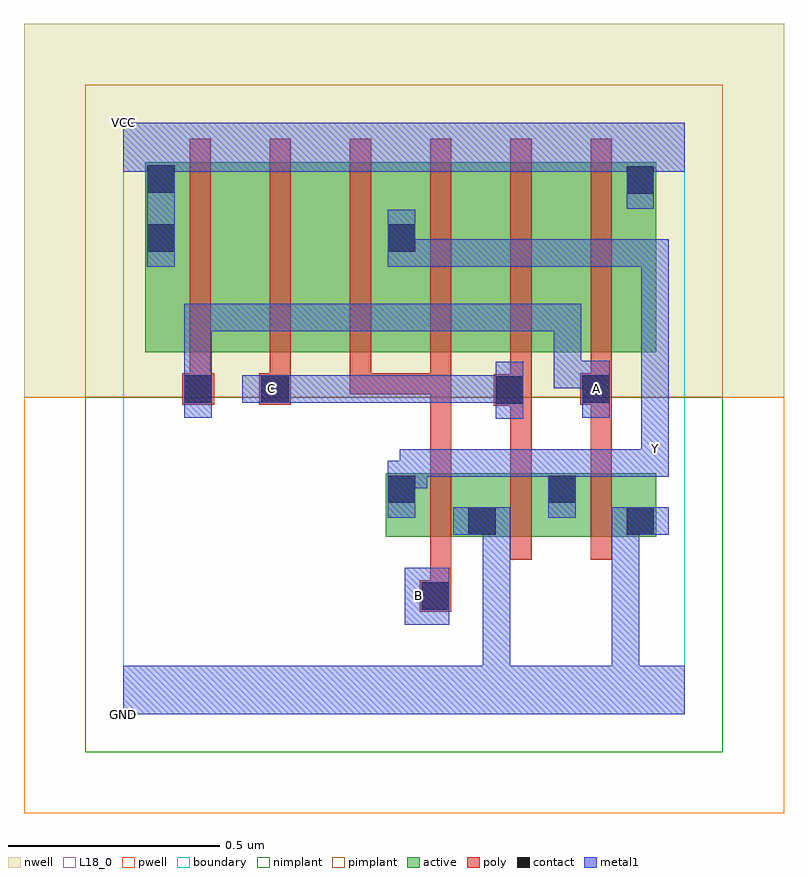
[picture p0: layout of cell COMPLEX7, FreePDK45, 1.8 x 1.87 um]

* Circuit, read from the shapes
.subckt COMPLEX7 A B C GND VCC Y
M1 GND B Y VSUBS nfet w=0.15u l=0.05u
M2 Y C GND VSUBS nfet w=0.15u l=0.05u
M3 GND A Y VSUBS nfet w=0.15u l=0.05u
M4 n1 A VCC n2 pfet w=0.45u l=0.05u
M5 n3 C n1 n2 pfet w=0.45u l=0.05u
M6 Y B n3 n2 pfet w=0.45u l=0.05u
M7 n4 B Y n2 pfet w=0.45u l=0.05u
M8 n5 C n4 n2 pfet w=0.45u l=0.05u
M9 VCC A n5 n2 pfet w=0.45u l=0.05u
.ends

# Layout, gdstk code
import gdstk
lib = gdstk.Library(unit=1e-6, precision=1e-09)
def R(c, l, rs):  # rectangles x0, y0, x1, y1
    for r in rs: c.add(gdstk.rectangle(r[:2], r[2:], *l))
def A(c, l, x, y, w, h, nx, ny, dx, dy):  # array of equal rectangles
    R(c, l, [(x+i*dx, y+j*dy, x+i*dx+w, y+j*dy+h) for i in range(nx) for j in range(ny)])
active = (1, 0)
pwell = (2, 0)
nwell = (3, 0)
nimplant = (4, 0)
pimplant = (5, 0)
poly = (9, 0)
contact = (10, 0)
metal1 = (11, 0)
L18_0 = (18, 0)
boundary = (235, 0)

complex7 = lib.new_cell('COMPLEX7')
R(complex7, active, [(0.622,0.42,0.697,0.57), (0.622,0.42,0.887,0.57), (0.812,0.42,1.077,0.57), (0.812,0.42,0.887,0.51), (1.002,0.42,1.077,0.57), (1.002,0.42,1.262,0.57), (1.187,0.42,1.262,0.57), (0.052,0.857,0.127,1.307), (0.052,0.857,0.277,1.307), (0.277,0.857,0.467,1.307), (0.467,0.857,0.697,1.307), (0.622,0.857,0.847,1.307), (0.622,0.857,0.697,1.2), (0.847,0.857,1.037,1.307), (1.037,0.857,1.262,1.307), (1.187,0.857,1.262,1.307)])
R(complex7, pwell, [(-0.235,-0.235,1.565,0.75)])
R(complex7, nwell, [(-0.235,0.75,1.565,1.635)])
R(complex7, nimplant, [(-0.09,-0.09,1.42,0.75)])
R(complex7, pimplant, [(-0.09,0.75,1.42,1.49)])
A(complex7, poly, 0.727, 0.365, 0.05, 0.26, 3, 1, 0.19, 0)
A(complex7, poly, 0.157, 0.757, 0.05, 0.095, 4, 1, 0.19, 0)
A(complex7, poly, 0.157, 0.802, 0.05, 0.56, 6, 1, 0.19, 0)
R(complex7, poly, [(0.702,0.242,0.777,0.317), (0.727,0.267,0.777,0.415), (0.727,0.575,0.777,0.807), (0.917,0.575,0.967,0.78), (1.107,0.575,1.157,0.782), (0.877,0.73,0.967,0.805), (0.14,0.732,0.215,0.807), (0.322,0.732,0.397,0.807), (1.082,0.732,1.157,0.807), (0.917,0.755,0.967,0.852), (0.537,0.757,0.587,0.807), (0.537,0.757,0.777,0.807), (0.727,0.757,0.777,0.807), (0.727,0.757,0.777,0.807), (0.727,0.757,0.777,0.807), (1.107,0.757,1.157,0.852)])
R(complex7, contact, [(0.707,0.247,0.772,0.312), (0.817,0.425,0.882,0.49), (1.192,0.425,1.257,0.49), (0.627,0.5,0.692,0.565), (1.007,0.5,1.072,0.565), (0.882,0.735,0.947,0.8), (0.145,0.737,0.21,0.802), (0.327,0.737,0.392,0.802), (1.087,0.737,1.152,0.802), (0.057,1.095,0.122,1.16), (0.627,1.095,0.692,1.16), (1.192,1.232,1.257,1.297), (0.057,1.235,0.122,1.3)])
R(complex7, metal1, [(0,0,1.33,0.115), (0.852,0.05,0.917,0.115), (0.852,0.05,0.917,0.115), (0.852,0.05,0.917,0.115), (0.852,0.05,0.917,0.115), (0.852,0.05,0.917,0.115), (0.852,0.05,0.917,0.115), (0.852,0.05,0.917,0.49), (1.157,0.05,1.222,0.115), (1.157,0.05,1.222,0.115), (1.157,0.05,1.222,0.49), (0.667,0.212,0.772,0.347), (0.782,0.425,0.917,0.49), (1.157,0.425,1.222,0.49), (1.157,0.425,1.222,0.49), (1.157,0.425,1.222,0.49), (1.157,0.425,1.222,0.49), (1.157,0.425,1.292,0.49), (0.627,0.465,0.692,0.6), (1.007,0.465,1.072,0.627), (0.627,0.535,0.72,0.6), (0.655,0.535,0.72,0.627), (0.655,0.562,0.935,0.627), (0.87,0.562,0.935,0.627), (0.87,0.562,0.935,0.627), (0.87,0.562,0.935,0.627), (0.87,0.562,1.072,0.627), (1.007,0.562,1.292,0.627), (1.227,0.562,1.292,0.697), (1.227,0.562,1.292,0.627), (1.227,0.562,1.292,0.627), (1.227,0.562,1.292,0.627), (1.227,0.562,1.292,0.627), (1.227,0.632,1.292,1.125), (0.882,0.7,0.947,0.835), (0.145,0.702,0.21,0.837), (1.087,0.702,1.152,0.837), (0.282,0.737,0.427,0.802), (0.362,0.737,0.427,0.802), (0.362,0.737,0.427,0.802), (0.362,0.737,0.582,0.802), (0.517,0.737,0.582,0.802), (0.517,0.737,0.582,0.802), (0.517,0.737,0.582,0.802), (0.517,0.737,0.72,0.802), (0.655,0.737,0.72,0.802), (0.655,0.737,0.857,0.802), (0.792,0.737,0.857,0.802), (0.792,0.737,0.947,0.802), (0.145,0.772,0.21,0.837), (0.145,0.772,0.21,0.837), (0.145,0.772,0.21,0.972), (1.02,0.772,1.085,0.837), (1.02,0.772,1.152,0.837), (1.02,0.772,1.085,0.972), (0.145,0.907,0.21,0.972), (0.145,0.907,0.445,0.972), (0.38,0.907,0.445,0.972), (0.38,0.907,0.445,0.972), (0.38,0.907,0.445,0.972), (0.38,0.907,0.582,0.972), (0.517,0.907,0.582,0.972), (0.517,0.907,0.582,0.972), (0.517,0.907,0.582,0.972), (0.517,0.907,0.72,0.972), (0.655,0.907,0.72,0.972), (0.655,0.907,0.935,0.972), (0.87,0.907,0.935,0.972), (0.87,0.907,0.935,0.972), (0.87,0.907,0.935,0.972), (0.87,0.907,1.085,0.972), (1.02,0.907,1.085,0.972), (0.057,1.06,0.122,1.335), (0.627,1.06,0.692,1.195), (0.627,1.06,0.797,1.125), (0.732,1.06,0.797,1.125), (0.732,1.06,0.935,1.125), (0.87,1.06,0.935,1.125), (0.87,1.06,0.935,1.125), (0.87,1.06,0.935,1.125), (0.87,1.06,1.085,1.125), (1.02,1.06,1.085,1.125), (1.02,1.06,1.292,1.125), (1.227,1.06,1.292,1.125), (1.227,1.06,1.292,1.125), (1.227,1.06,1.292,1.125), (1.227,1.06,1.292,1.125), (1.227,1.06,1.292,1.125), (1.192,1.197,1.257,1.332), (1.192,1.267,1.257,1.35), (0.057,1.27,0.122,1.35), (0,1.285,1.33,1.4)])
R(complex7, L18_0, [(0,0,1.33,0.115), (0.852,0.05,0.917,0.115), (0.852,0.05,0.917,0.115), (0.852,0.05,0.917,0.115), (0.852,0.05,0.917,0.115), (0.852,0.05,0.917,0.115), (0.852,0.05,0.917,0.115), (0.852,0.05,0.917,0.49), (1.157,0.05,1.222,0.115), (1.157,0.05,1.222,0.115), (1.157,0.05,1.222,0.49), (0.667,0.212,0.772,0.347), (0.667,0.247,0.732,0.312), (0.782,0.425,0.917,0.49), (1.157,0.425,1.222,0.49), (1.157,0.425,1.222,0.49), (1.157,0.425,1.222,0.49), (1.157,0.425,1.222,0.49), (1.157,0.425,1.292,0.49), (0.627,0.465,0.692,0.6), (1.007,0.465,1.072,0.627), (0.627,0.535,0.72,0.6), (0.655,0.535,0.72,0.627), (0.655,0.562,0.935,0.627), (0.87,0.562,0.935,0.627), (0.87,0.562,0.935,0.627), (0.87,0.562,0.935,0.627), (0.87,0.562,1.072,0.627), (1.007,0.562,1.292,0.627), (1.227,0.562,1.292,0.697), (1.227,0.562,1.292,0.627), (1.227,0.562,1.292,0.627), (1.227,0.562,1.292,0.627), (1.227,0.562,1.292,0.627), (1.227,0.597,1.292,0.662), (1.227,0.632,1.292,1.125), (0.882,0.7,0.947,0.835), (0.145,0.702,0.21,0.837), (1.087,0.702,1.152,0.837), (0.282,0.737,0.427,0.802), (0.317,0.737,0.382,0.802), (0.362,0.737,0.427,0.802), (0.362,0.737,0.427,0.802), (0.362,0.737,0.582,0.802), (0.517,0.737,0.582,0.802), (0.517,0.737,0.582,0.802), (0.517,0.737,0.582,0.802), (0.517,0.737,0.72,0.802), (0.655,0.737,0.72,0.802), (0.655,0.737,0.857,0.802), (0.792,0.737,0.857,0.802), (0.792,0.737,0.947,0.802), (1.087,0.737,1.152,0.802), (0.145,0.772,0.21,0.837), (0.145,0.772,0.21,0.837), (0.145,0.772,0.21,0.972), (1.02,0.772,1.085,0.837), (1.02,0.772,1.085,0.972), (1.02,0.772,1.152,0.837), (0.145,0.907,0.21,0.972), (0.145,0.907,0.445,0.972), (0.38,0.907,0.445,0.972), (0.38,0.907,0.445,0.972), (0.38,0.907,0.445,0.972), (0.38,0.907,0.582,0.972), (0.517,0.907,0.582,0.972), (0.517,0.907,0.582,0.972), (0.517,0.907,0.582,0.972), (0.517,0.907,0.72,0.972), (0.655,0.907,0.72,0.972), (0.655,0.907,0.935,0.972), (0.87,0.907,0.935,0.972), (0.87,0.907,0.935,0.972), (0.87,0.907,0.935,0.972), (0.87,0.907,1.085,0.972), (1.02,0.907,1.085,0.972), (0.057,1.06,0.122,1.335), (0.627,1.06,0.692,1.195), (0.627,1.06,0.797,1.125), (0.732,1.06,0.797,1.125), (0.732,1.06,0.935,1.125), (0.87,1.06,0.935,1.125), (0.87,1.06,0.935,1.125), (0.87,1.06,0.935,1.125), (0.87,1.06,1.085,1.125), (1.02,1.06,1.085,1.125), (1.02,1.06,1.292,1.125), (1.227,1.06,1.292,1.125), (1.227,1.06,1.292,1.125), (1.227,1.06,1.292,1.125), (1.227,1.06,1.292,1.125), (1.227,1.06,1.292,1.125), (1.192,1.197,1.257,1.332), (1.192,1.267,1.257,1.35), (0.057,1.27,0.122,1.35), (0,1.285,1.33,1.4)])
R(complex7, boundary, [(0,0,1.33,1.4)])
complex7.add(gdstk.Label('A', (1.12,0.77), layer=11, texttype=0))
complex7.add(gdstk.Label('B', (0.7,0.28), layer=11, texttype=0))
complex7.add(gdstk.Label('C', (0.35,0.77), layer=11, texttype=0))
complex7.add(gdstk.Label('Y', (1.26,0.63), layer=11, texttype=0))
complex7.add(gdstk.Label('VCC', (0,1.4), layer=11, texttype=0))
complex7.add(gdstk.Label('GND', (0,0), layer=11, texttype=0))

lib.write_gds('COMPLEX7.gds')
